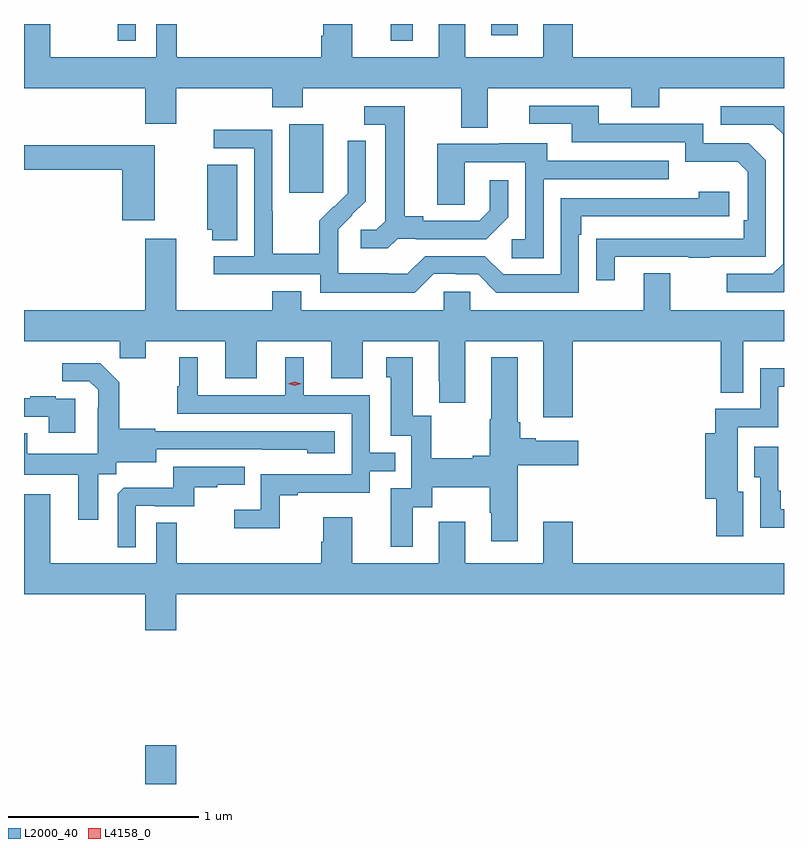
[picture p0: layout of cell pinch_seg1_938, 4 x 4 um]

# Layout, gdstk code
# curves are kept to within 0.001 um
import gdstk
lib = gdstk.Library(unit=1e-6, precision=1e-09)
def R(c, l, rs):  # rectangles x0, y0, x1, y1
    for r in rs: c.add(gdstk.rectangle(r[:2], r[2:], *l))
def P(c, l, *ps):  # polygons
    for p in ps: c.add(gdstk.Polygon(p, *l))
L2000_40 = (2000, 40)
L4158_0 = (4158, 0)

pinch_seg1_938 = lib.new_cell('pinch_seg1_938')
R(pinch_seg1_938, L2000_40, [(165.008,546.738,165.172,546.943), (165.767,549.849,165.946,550.21), (164.865,550.649,164.958,550.738), (166.301,550.65,166.417,550.738), (166.829,550.68,166.969,550.738)])
P(pinch_seg1_938, L2000_40, [(166.813,550.4),(167.567,550.4),(167.567,550.301),(167.715,550.301),(167.715,550.4),(168.371,550.4),(168.371,550.564),(167.258,550.564),(167.258,550.738),(167.105,550.738),(167.105,550.564),(166.693,550.564),(166.693,550.738),(166.553,550.738),(166.553,550.564),(166.099,550.564),(166.099,550.738),(165.947,550.738),(165.947,550.677),(165.935,550.677),(165.935,550.564),(165.175,550.564),(165.175,550.738),(165.066,550.738),(165.066,550.564),(164.509,550.564),(164.509,550.738),(164.371,550.738),(164.371,550.4),(165.008,550.4),(165.008,550.212),(165.172,550.212),(165.172,550.4),(165.677,550.4),(165.677,550.301),(165.837,550.301),(165.837,550.4),(166.673,550.4),(166.673,550.192),(166.813,550.192)],
  [(167.479,549.513),(167.869,549.513),(167.869,549.508),(167.981,549.508),(167.981,549.513),(168.276,549.513),(168.276,550.02),(168.186,550.11),(167.946,550.11),(167.946,550.212),(167.395,550.212),(167.395,550.308),(167.031,550.308),(167.031,550.212),(167.255,550.212),(167.255,550.116),(167.85,550.116),(167.85,550.013),(168.127,550.013),(168.18,549.96),(168.18,549.706),(168.16,549.706),(168.16,549.609),(167.383,549.608),(167.383,549.39),(167.479,549.39)],
  [(168.371,549.329),(168.371,550.305),(168.039,550.305),(168.039,550.209),(168.315,550.209),(168.366,550.158),(168.366,549.477),(168.312,549.423),(168.069,549.423),(168.069,549.327),(168.369,549.327)],
  [(166.338,549.609),(166.432,549.609),(166.432,549.606),(166.804,549.606),(166.92,549.722),(166.92,549.916),(166.823,549.916),(166.823,549.759),(166.766,549.702),(166.471,549.702),(166.471,549.725),(166.375,549.725),(166.375,550.305),(166.161,550.305),(166.161,550.209),(166.271,550.209),(166.271,549.701),(166.224,549.654),(166.143,549.654),(166.143,549.557),(166.286,549.557)],
  [(166.527,549.423),(166.643,549.423),(166.643,549.42),(166.761,549.42),(166.857,549.324),(167.292,549.324),(167.292,549.629),(167.305,549.629),(167.305,549.726),(168.082,549.726),(168.082,549.856),(167.921,549.856),(167.921,549.822),(167.196,549.822),(167.196,549.42),(166.893,549.42),(166.797,549.516),(166.482,549.516),(166.389,549.423),(166.289,549.423),(166.289,549.427),(166.026,549.427),(166.026,549.561),(166.024,549.561),(166.024,549.658),(166.17,549.806),(166.17,550.124),(166.074,550.124),(166.074,549.97),(166.076,549.97),(166.076,549.848),(166.005,549.777),(166.002,549.78),(165.925,549.703),(165.925,549.529),(165.681,549.529),(165.681,549.752),(165.678,549.752),(165.678,550.182),(165.369,550.182),(165.369,550.083),(165.582,550.083),(165.582,549.516),(165.369,549.516),(165.369,549.42),(165.93,549.42),(165.93,549.323),(166.427,549.323)],
  [(167.106,549.921),(167.765,549.921),(167.765,550.017),(167.125,550.017),(167.125,550.111),(166.871,550.111),(166.871,550.107),(166.547,550.107),(166.547,549.787),(166.692,549.787),(166.692,550.011),(167.01,550.011),(167.01,549.606),(166.938,549.606),(166.938,549.505),(167.106,549.505)],
  [(165.058,550.099),(164.371,550.099),(164.371,549.97),(164.888,549.97),(164.888,549.705),(165.058,549.705)],
  [(165.493,549.998),(165.335,549.998),(165.335,549.654),(165.362,549.654),(165.362,549.601),(165.493,549.601)],
  [(167.258,549.068),(168.039,549.068),(168.039,548.797),(168.157,548.797),(168.157,549.068),(168.371,549.068),(168.371,549.232),(167.773,549.232),(167.773,549.427),(167.633,549.427),(167.633,549.232),(166.719,549.232),(166.719,549.33),(166.581,549.33),(166.581,549.232),(165.829,549.232),(165.829,549.331),(165.677,549.331),(165.677,549.232),(165.172,549.232),(165.172,549.607),(165.008,549.607),(165.008,549.232),(164.371,549.232),(164.371,549.068),(164.875,549.068),(164.875,548.978),(165.013,548.978),(165.013,549.068),(165.431,549.068),(165.431,548.874),(165.595,548.874),(165.595,549.068),(165.989,549.068),(165.989,548.874),(166.153,548.874),(166.153,549.068),(166.553,549.068),(166.553,548.857),(166.556,548.857),(166.556,548.745),(166.693,548.745),(166.693,549.068),(167.105,549.068),(167.105,548.667),(167.258,548.667)],
  [(166.417,548.194),(166.519,548.194),(166.519,548.3),(166.822,548.3),(166.822,548.166),(166.829,548.166),(166.829,548.016),(166.969,548.016),(166.969,548.416),(167.287,548.416),(167.287,548.545),(167.065,548.545),(167.065,548.558),(166.982,548.558),(166.982,548.641),(166.969,548.641),(166.969,548.983),(166.829,548.983),(166.829,548.657),(166.822,548.657),(166.822,548.465),(166.733,548.465),(166.733,548.452),(166.515,548.452),(166.515,548.675),(166.417,548.675),(166.417,548.983),(166.277,548.983),(166.277,548.88),(166.301,548.88),(166.301,548.571),(166.41,548.571),(166.41,548.295),(166.301,548.295),(166.301,547.986),(166.417,547.986)],
  [(165.717,548.259),(165.811,548.259),(165.811,548.271),(166.191,548.271),(166.191,548.385),(166.325,548.385),(166.325,548.481),(166.191,548.481),(166.191,548.784),(165.844,548.784),(165.844,548.983),(165.746,548.983),(165.746,548.784),(165.286,548.784),(165.286,548.983),(165.188,548.983),(165.188,548.832),(165.177,548.832),(165.177,548.688),(166.095,548.688),(166.095,548.367),(165.618,548.367),(165.618,548.182),(165.477,548.182),(165.477,548.084),(165.717,548.084)],
  [(164.761,548.368),(164.856,548.368),(164.856,548.432),(165.067,548.432),(165.067,548.499),(165.861,548.498),(165.861,548.48),(166.006,548.48),(166.006,548.595),(165.063,548.595),(165.063,548.608),(164.871,548.608),(164.871,548.853),(164.771,548.953),(164.571,548.953),(164.571,548.859),(164.715,548.859),(164.762,548.812),(164.762,548.717),(164.76,548.717),(164.76,548.476),(164.389,548.476),(164.389,548.585),(164.371,548.585),(164.371,548.366),(164.657,548.366),(164.657,548.13),(164.761,548.13)],
  [(168.157,548.275),(168.127,548.275),(168.127,548.616),(168.342,548.616),(168.342,548.829),(168.371,548.829),(168.371,548.926),(168.246,548.926),(168.246,548.712),(168.009,548.712),(168.009,548.584),(167.957,548.584),(167.957,548.24),(168.014,548.24),(168.014,548.043),(168.157,548.043)],
  [(164.641,548.766),(164.537,548.766),(164.537,548.779),(164.405,548.779),(164.405,548.768),(164.371,548.768),(164.371,548.67),(164.501,548.67),(164.501,548.586),(164.641,548.586)],
  [(168.371,548.185),(168.355,548.185),(168.355,548.281),(168.342,548.281),(168.342,548.512),(168.215,548.512),(168.215,548.353),(168.246,548.353),(168.246,548.087),(168.371,548.087)],
  [(164.958,548.202),(165.058,548.202),(165.058,548.199),(165.266,548.199),(165.266,548.301),(165.389,548.301),(165.389,548.312),(165.533,548.312),(165.533,548.409),(165.156,548.409),(165.156,548.297),(164.897,548.297),(164.865,548.265),(164.865,547.985),(164.958,547.985)],
  [(165.172,547.736),(168.371,547.736),(168.371,547.9),(167.258,547.9),(167.258,548.119),(167.105,548.119),(167.105,547.9),(166.693,547.9),(166.693,548.119),(166.553,548.119),(166.553,547.9),(166.099,547.9),(166.099,548.143),(165.947,548.143),(165.947,548.013),(165.935,548.013),(165.935,547.9),(165.175,547.9),(165.175,548.114),(165.066,548.114),(165.066,547.9),(164.509,547.9),(164.509,548.263),(164.371,548.263),(164.371,547.736),(165.008,547.736),(165.008,547.548),(165.172,547.548)])
P(pinch_seg1_938, L4158_0, [(165.795,548.835),(165.759,548.844),(165.759,548.845),(165.759,548.845),(165.795,548.855),(165.831,548.845),(165.831,548.845),(165.831,548.844)])

lib.write_gds('pinch_seg1_938.gds')
